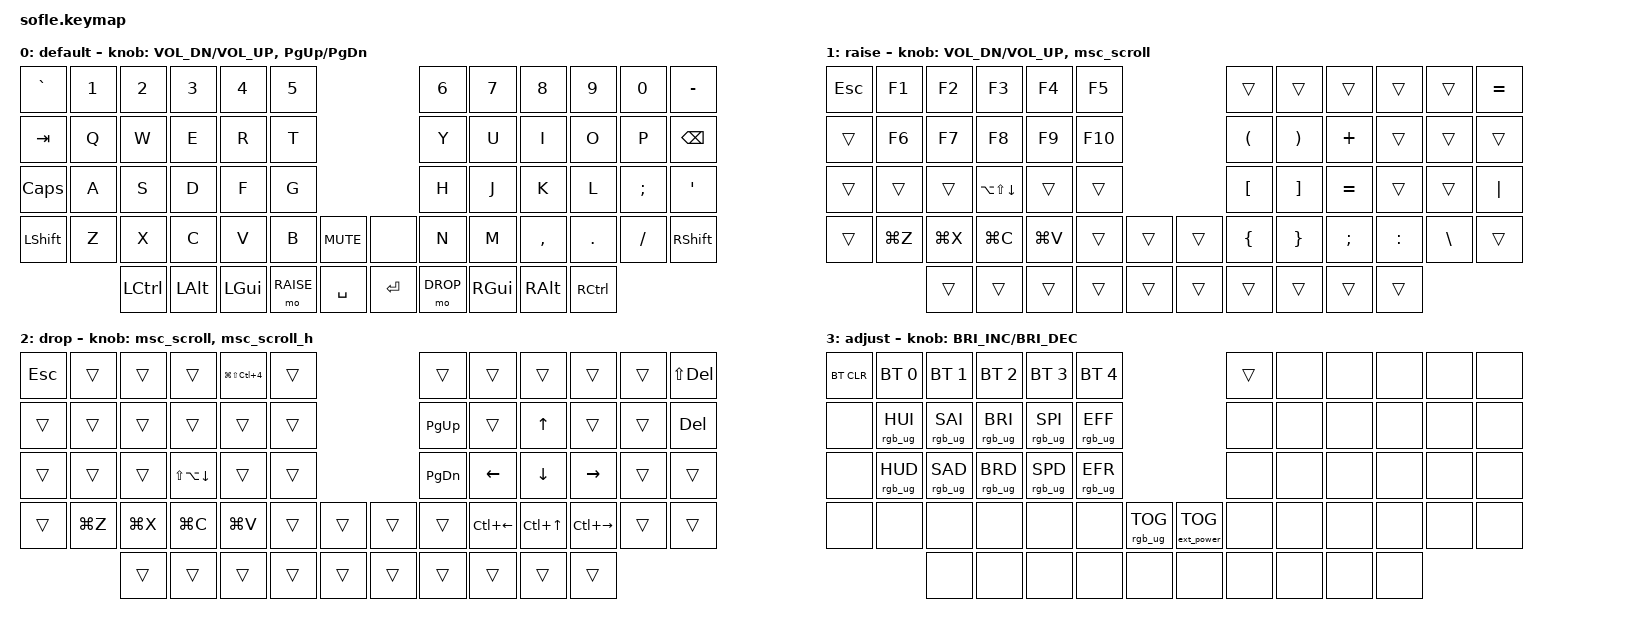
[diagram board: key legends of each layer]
/*
 * Copyright (c) 2020 The ZMK Contributors
 *
 * SPDX-License-Identifier: MIT
 */

#include <behaviors.dtsi>
#include <dt-bindings/zmk/bt.h>
#include <dt-bindings/zmk/ext_power.h>
#include <dt-bindings/zmk/keys.h>
#include <dt-bindings/zmk/pointing.h>
#include <dt-bindings/zmk/rgb.h>

#define BASE 0
#define RAISE 1
#define DROP 2
#define ADJUST 3
#define ZMK_POINTING_DEFAULT_MOVE_VAL 2000  // default: 600
#define ZMK_POINTING_DEFAULT_SCRL_VAL 30   // default: 10
#define ZMK_MOUSE_SCRL_VAL 120

/ {
    conditional_layers {
        compatible = "zmk,conditional-layers";

        adjust_layer {
            if-layers = <DROP RAISE>;
            then-layer = <ADJUST>;
        };
    };

    behaviors {
        msc_scroll: msc_scroll {
            compatible = "zmk,behavior-sensor-rotate";
            label = "Mouse Scroll";
            #sensor-binding-cells = <0>;
            bindings = <&msc SCRL_UP>, <&msc SCRL_DOWN>;

            tap-ms = <120>;
        };

        msc_scroll_h: msc_scroll_h {
            compatible = "zmk,behavior-sensor-rotate";
            label = "Mouse Scroll H";
            #sensor-binding-cells = <0>;
            bindings = <&msc SCRL_RIGHT>, <&msc SCRL_LEFT>;

            tap-ms = <120>;
        };
    };

    keymap {
        compatible = "zmk,keymap";

        default_layer {
            display-name = "default";
            label = "Default";
            bindings = <
&kp GRAVE     &kp N1  &kp N2     &kp N3    &kp N4    &kp N5                              &kp N6    &kp N7    &kp N8     &kp N9     &kp N0    &kp MINUS
&kp TAB       &kp Q   &kp W      &kp E     &kp R     &kp T                               &kp Y     &kp U     &kp I      &kp O      &kp P     &kp BACKSPACE
&kp CAPSLOCK  &kp A   &kp S      &kp D     &kp F     &kp G                               &kp H     &kp J     &kp K      &kp L      &kp SEMI  &kp SQT
&kp LSHFT     &kp Z   &kp X      &kp C     &kp V     &kp B      &kp C_MUTE    &none      &kp N     &kp M     &kp COMMA  &kp DOT    &kp FSLH  &kp RSHFT
                      &kp LCTRL  &kp LALT  &kp LGUI  &mo RAISE  &kp SPACE     &kp ENTER  &mo DROP  &kp RGUI  &kp RALT   &kp RCTRL
            >;

            sensor-bindings =
                <&inc_dec_kp C_VOL_DN C_VOL_UP>,
                <&inc_dec_kp PG_UP PG_DN>;
        };

        raise_layer {
            display-name = "raise";
            label = "Raise";
            bindings = <
&kp ESCAPE  &kp F1     &kp F2     &kp F3            &kp F4     &kp F5                     &trans                &trans                 &trans     &trans     &trans    &kp EQUAL
&trans      &kp F6     &kp F7     &kp F8            &kp F9     &kp F10                    &kp LEFT_PARENTHESIS  &kp RIGHT_PARENTHESIS  &kp PLUS   &trans     &trans    &trans
&trans      &trans     &trans     &kp LA(LS(DOWN))  &trans     &trans                     &kp LEFT_BRACKET      &kp RIGHT_BRACKET      &kp EQUAL  &trans     &trans    &kp PIPE
&trans      &kp LG(Z)  &kp LG(X)  &kp LG(C)         &kp LG(V)  &trans   &trans    &trans  &kp LEFT_BRACE        &kp RIGHT_BRACE        &kp SEMI   &kp COLON  &kp BSLH  &trans
                       &trans     &trans            &trans     &trans   &trans    &trans  &trans                &trans                 &trans     &trans
            >;

            sensor-bindings = <&inc_dec_kp C_VOL_DN C_VOL_UP>, <&msc_scroll>;
        };

        drop_layer {
            display-name = "drop";
            label = "Drop";
            bindings = <
&kp ESCAPE  &trans     &trans     &trans            &kp LG(LS(LC(NUMBER_4)))  &trans                    &trans     &trans        &trans            &trans         &trans  &kp LS(DELETE)
&trans      &trans     &trans     &trans            &trans                    &trans                    &kp PG_UP  &trans        &kp UP            &trans         &trans  &kp DELETE
&trans      &trans     &trans     &kp LS(LA(DOWN))  &trans                    &trans                    &kp PG_DN  &kp LEFT      &kp DOWN          &kp RIGHT      &trans  &trans
&trans      &kp LG(Z)  &kp LG(X)  &kp LG(C)         &kp LG(V)                 &trans  &trans    &trans  &trans     &kp LC(LEFT)  &kp LC(UP_ARROW)  &kp LC(RIGHT)  &trans  &trans
                       &trans     &trans            &trans                    &trans  &trans    &trans  &trans     &trans        &trans            &trans
            >;

            sensor-bindings = <&msc_scroll>, <&msc_scroll_h>;
        };

        adjust_layer {
            display-name = "adjust";
            label = "Adjust";
            bindings = <
&bt BT_CLR  &bt BT_SEL 0     &bt BT_SEL 1     &bt BT_SEL 2     &bt BT_SEL 3     &bt BT_SEL 4                                           &trans  &none  &none  &none  &none  &none
&none       &rgb_ug RGB_HUI  &rgb_ug RGB_SAI  &rgb_ug RGB_BRI  &rgb_ug RGB_SPI  &rgb_ug RGB_EFF                                        &none   &none  &none  &none  &none  &none
&none       &rgb_ug RGB_HUD  &rgb_ug RGB_SAD  &rgb_ug RGB_BRD  &rgb_ug RGB_SPD  &rgb_ug RGB_EFR                                        &none   &none  &none  &none  &none  &none
&none       &none            &none            &none            &none            &none            &rgb_ug RGB_TOG    &ext_power EP_TOG  &none   &none  &none  &none  &none  &none
                             &none            &none            &none            &none            &none              &none              &none   &none  &none  &none
            >;

            sensor-bindings = <&inc_dec_kp C_BRIGHTNESS_INC C_BRIGHTNESS_DEC>;
        };
    };
};
